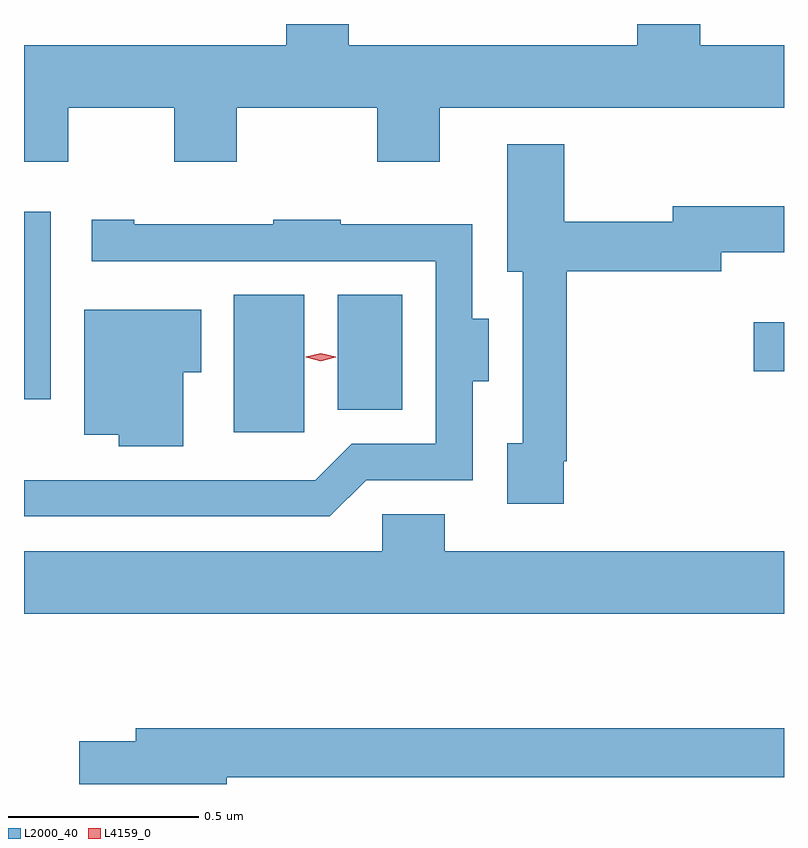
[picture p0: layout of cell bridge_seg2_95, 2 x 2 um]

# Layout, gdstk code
import gdstk
lib = gdstk.Library(unit=1e-6, precision=1e-09)
def R(c, l, rs):  # rectangles x0, y0, x1, y1
    for r in rs: c.add(gdstk.rectangle(r[:2], r[2:], *l))
def P(c, l, *ps):  # polygons
    for p in ps: c.add(gdstk.Polygon(p, *l))
L2000_40 = (2000, 40)
L4159_0 = (4159, 0)

bridge_seg2_95 = lib.new_cell('bridge_seg2_95')
R(bridge_seg2_95, L2000_40, [(303.605,593.502,303.79,593.863), (303.878,593.561,304.048,593.863), (303.053,593.589,303.124,594.082), (304.974,593.662,305.053,593.791)])
P(bridge_seg2_95, L2000_40, [(303.169,594.356),(303.449,594.356),(303.449,594.213),(303.613,594.213),(303.613,594.356),(303.983,594.356),(303.983,594.213),(304.147,594.213),(304.147,594.356),(305.053,594.356),(305.053,594.52),(304.832,594.52),(304.832,594.576),(304.667,594.576),(304.667,594.52),(303.908,594.52),(303.908,594.576),(303.743,594.576),(303.743,594.52),(303.053,594.52),(303.053,594.213),(303.169,594.213)],
  [(304.474,593.425),(304.481,593.425),(304.481,593.926),(304.888,593.926),(304.888,593.975),(305.053,593.975),(305.053,594.097),(304.76,594.097),(304.76,594.055),(304.475,594.055),(304.475,594.259),(304.325,594.259),(304.325,593.924),(304.365,593.924),(304.365,593.473),(304.325,593.473),(304.325,593.313),(304.474,593.313)],
  [(303.954,593.376),(304.234,593.376),(304.234,593.636),(304.276,593.636),(304.276,593.8),(304.233,593.8),(304.233,594.049),(303.887,594.049),(303.887,594.061),(303.709,594.061),(303.709,594.049),(303.343,594.049),(303.343,594.061),(303.231,594.061),(303.231,593.952),(304.137,593.952),(304.137,593.472),(303.915,593.472),(303.819,593.376),(303.053,593.376),(303.053,593.28),(303.858,593.28)],
  [(303.472,593.66),(303.52,593.66),(303.52,593.824),(303.212,593.824),(303.212,593.495),(303.302,593.495),(303.302,593.465),(303.472,593.465)],
  [(305.053,593.188),(304.16,593.188),(304.16,593.286),(303.996,593.286),(303.996,593.188),(303.053,593.188),(303.053,593.024),(305.053,593.024)],
  [(303.586,592.594),(305.053,592.594),(305.053,592.723),(303.347,592.723),(303.347,592.689),(303.198,592.689),(303.198,592.576),(303.586,592.576)])
P(bridge_seg2_95, L4159_0, [(303.834,593.689),(303.795,593.699),(303.794,593.699),(303.795,593.7),(303.834,593.709),(303.874,593.7),(303.875,593.699),(303.874,593.699)])

lib.write_gds('bridge_seg2_95.gds')
